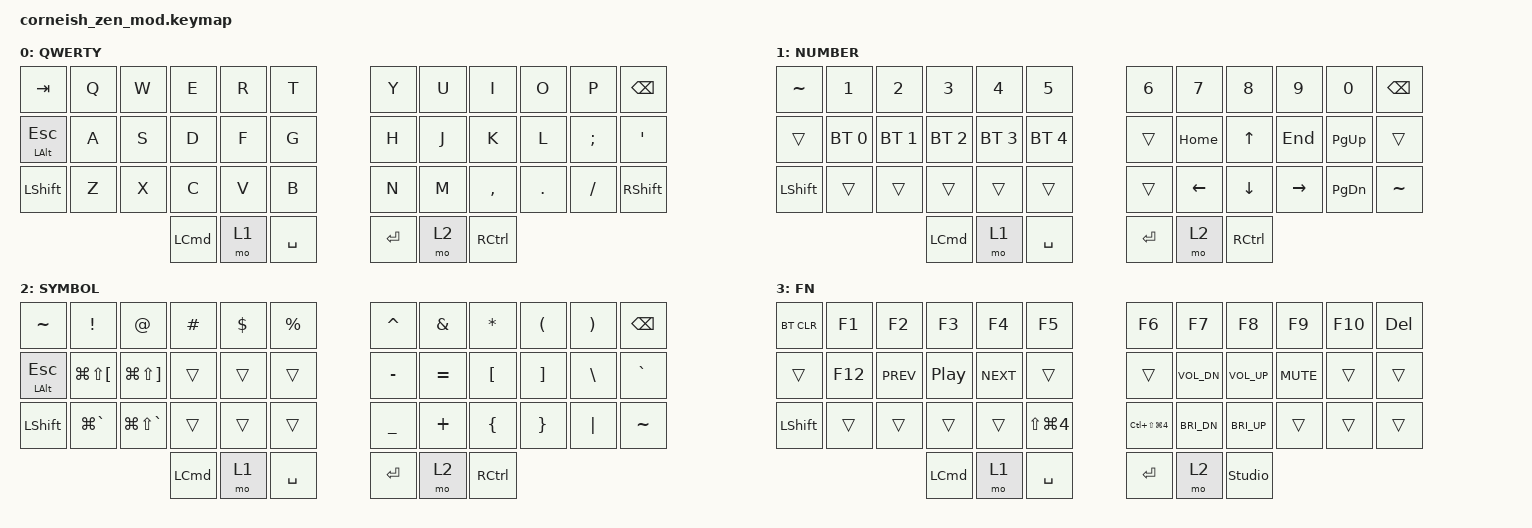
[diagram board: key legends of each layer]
#include <behaviors.dtsi>
#include <dt-bindings/zmk/keys.h>
#include <dt-bindings/zmk/bt.h>

/ {
    chosen {
        zmk,physical-layout = &foostan_corne_6col_layout;
    };
};

/ {
    conditional_layers {
        compatible = "zmk,conditional-layers";
        tri_layer {
            if-layers = <1 2>;
            then-layer = <3>;
        };
    };

    keymap {
        compatible = "zmk,keymap";

        default_layer {
            display-name = "QWERTY";
// --------------------------------------------------------------------------------
// | TAB       |  Q  |  W  |  E  |  R  |  T  |   |  Y  |  U  |  I  |  O  |  P  | BSPC |
// | ESC/⌥hold |  A  |  S  |  D  |  F  |  G  |   |  H  |  J  |  K  |  L  |  ;  |  '   |
// | SHFT      |  Z  |  X  |  C  |  V  |  B  |   |  N  |  M  |  ,  |  .  |  /  | SHFT |
//                         | CMD | LWR | SPC |   | ENT | RSE | CMD+SHFT |
            bindings = <
&kp TAB      &kp Q &kp W &kp E &kp R &kp T   &kp Y &kp U  &kp I     &kp O   &kp P    &kp BSPC
&mt LALT ESC &kp A &kp S &kp D &kp F &kp G   &kp H &kp J  &kp K     &kp L   &kp SEMI &kp SQT
&kp LSHFT    &kp Z &kp X &kp C &kp V &kp B   &kp N &kp M  &kp COMMA &kp DOT &kp FSLH &kp RSHFT
                       &kp LCMD &mo 1 &kp SPACE   &kp RET &mo 2 &kp RCTRL
            >;
        };

        lower_layer {
            display-name = "NUMBER";
// -----------------------------------------------------------------------------------------
// |  ~   |  1  |  2  |  3  |  4  |  5  |   |  6  |  7  |  8  |  9  |  0  | BSPC |
// |      | BT1 | BT2 | BT3 | BT4 | BT5 |   |     | HOME|  UP | END | PGUP|      |
// |      |     |     |     |     |     |   |     | LEFT| DOWN| RGT | PGDN|      |
//                    | CMD |     | SPC |   | ENT |     | ALT |
            bindings = <
&kp TILDE  &kp N1       &kp N2       &kp N3       &kp N4       &kp N5         &kp N6 &kp N7    &kp N8   &kp N9    &kp N0    &kp BSPC
&trans     &bt BT_SEL 0 &bt BT_SEL 1 &bt BT_SEL 2 &bt BT_SEL 3 &bt BT_SEL 4   &trans &kp HOME  &kp UP   &kp END   &kp PG_UP &trans
&kp LSHFT  &trans       &trans       &trans       &trans       &trans         &trans &kp LEFT  &kp DOWN &kp RIGHT &kp PG_DN &kp TILDE
                                     &kp LCMD     &mo 1        &kp SPACE      &kp RET  &mo 2   &kp RCTRL
            >;
        };

        raise_layer {
            display-name = "SYMBOL";
// -----------------------------------------------------------------------------------------
// |  ~   |  !  |  @  |  #  |  $  |  %  |   |  ^  |  &  |  *  |  (  |  )  | BSPC |
// | CTRL |⌘⇧[ |⌘⇧] |     |     |     |   |  -  | LEFT| DOWN|  UP | RGT |  `   |
// | SHFT |     |     |     |     |     |   |  _  |  +  |  {  |  }  | "|" |  ~   |
//                    | CMD |     | SPC |   | ENT |     | ALT |
            bindings = <
&kp TILDE &kp EXCL &kp AT &kp HASH &kp DLLR &kp PRCNT   &kp CARET &kp AMPS  &kp ASTRK &kp LPAR &kp RPAR &kp BSPC
&mt LALT ESC &kp LG(LS(LBKT)) &kp LG(LS(RBKT)) &trans &trans &trans   &kp MINUS &kp EQUAL &kp LBKT  &kp RBKT &kp BSLH &kp GRAVE
&kp LSHFT &kp LG(GRAVE) &kp LG(LS(GRAVE)) &trans &trans &trans   &kp UNDER &kp PLUS  &kp LBRC  &kp RBRC &kp PIPE &kp TILDE
                          &kp LCMD &mo 1    &kp SPACE   &kp RET   &mo 2     &kp RCTRL
            >;
        };

        fn_layer {
            display-name = "FN";
// -----------------------------------------------------------------------------------------
// | BTCLR|  F1 |  F2 |  F3 |  F4 |  F5 |   |  F6 |  F7 |  F8 |  F9 | F10 | DEL  |
// |      | F12 | PREV| PLAY| NEXT|     |   |     |VOLDN|VOLUP| MUTE|     |      |
// |      |     |     |     |     |     |   |     |BRIDN|BRIUP|     |     |      |
//                    |     |     |     |   |     |     |     |
            bindings = <
&bt BT_CLR &kp F1  &kp F2     &kp F3   &kp F4     &kp F5   &kp F6 &kp F7       &kp F8       &kp F9     &kp F10 &kp DEL
&trans     &kp F12 &kp C_PREV &kp C_PP &kp C_NEXT &trans   &trans &kp C_VOL_DN &kp C_VOL_UP &kp C_MUTE &trans  &trans
&kp LSHFT  &trans  &trans     &trans   &trans     &kp LS(LG(N4)) &kp LC(LS(LG(N4))) &kp C_BRI_DN &kp C_BRI_UP &trans     &trans  &trans
                                       &kp LCMD   &mo 1    &kp SPACE &kp RET     &mo 2        &studio_unlock
            >;
        };
    };
};
